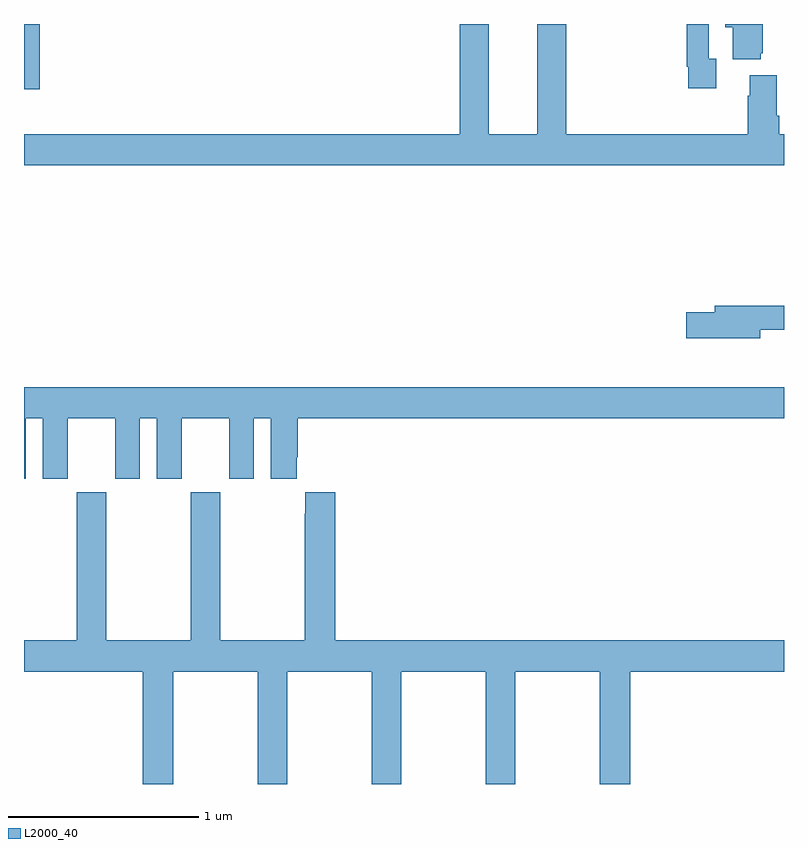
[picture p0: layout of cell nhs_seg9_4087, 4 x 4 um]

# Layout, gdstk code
import gdstk
lib = gdstk.Library(unit=1e-6, precision=1e-09)
def R(c, l, rs):  # rectangles x0, y0, x1, y1
    for r in rs: c.add(gdstk.rectangle(r[:2], r[2:], *l))
def P(c, l, *ps):  # polygons
    for p in ps: c.add(gdstk.Polygon(p, *l))
L2000_40 = (2000, 40)

nhs_seg9_4087 = lib.new_cell('nhs_seg9_4087')
R(nhs_seg9_4087, L2000_40, [(345,1194.156,345.083,1194.5)])
P(nhs_seg9_4087, L2000_40, [(348.878,1194.345),(348.889,1194.345),(348.889,1194.5),(348.692,1194.5),(348.692,1194.482),(348.731,1194.482),(348.731,1194.314),(348.878,1194.314)],
  [(348.643,1194.318),(348.603,1194.318),(348.603,1194.5),(348.487,1194.5),(348.487,1194.274),(348.495,1194.274),(348.495,1194.162),(348.643,1194.162)],
  [(349,1193.92),(348.974,1193.92),(348.974,1194.016),(348.961,1194.016),(348.961,1194.229),(348.821,1194.229),(348.821,1194.122),(348.809,1194.122),(348.809,1193.92),(347.855,1193.92),(347.855,1194.5),(347.702,1194.5),(347.702,1193.92),(347.446,1193.92),(347.446,1194.5),(347.294,1194.5),(347.294,1193.92),(345,1193.92),(345,1193.756),(349,1193.756)],
  [(348.874,1192.89),(349,1192.89),(349,1193.018),(348.635,1193.018),(348.635,1192.982),(348.486,1192.982),(348.486,1192.847),(348.874,1192.847)],
  [(345.01,1192.424),(345.098,1192.424),(345.098,1192.107),(345.229,1192.107),(345.229,1192.424),(345.479,1192.424),(345.479,1192.107),(345.61,1192.107),(345.61,1192.424),(345.698,1192.424),(345.698,1192.107),(345.829,1192.107),(345.829,1192.424),(346.079,1192.424),(346.079,1192.107),(346.21,1192.107),(346.21,1192.424),(346.298,1192.424),(346.298,1192.107),(346.435,1192.107),(346.435,1192.219),(346.442,1192.219),(346.442,1192.424),(349,1192.424),(349,1192.588),(345,1192.588),(345,1192.107),(345.01,1192.107)],
  [(345.786,1191.092),(346.231,1191.092),(346.231,1190.5),(346.386,1190.5),(346.386,1191.092),(346.831,1191.092),(346.831,1190.5),(346.986,1190.5),(346.986,1191.092),(347.431,1191.092),(347.431,1190.5),(347.586,1190.5),(347.586,1191.092),(348.031,1191.092),(348.031,1190.5),(348.191,1190.5),(348.191,1191.092),(349,1191.092),(349,1191.256),(346.637,1191.256),(346.637,1192.036),(346.481,1192.036),(346.481,1191.923),(346.477,1191.923),(346.477,1191.256),(346.032,1191.256),(346.032,1192.036),(345.877,1192.036),(345.877,1191.256),(345.432,1191.256),(345.432,1192.036),(345.277,1192.036),(345.277,1191.256),(345,1191.256),(345,1191.092),(345.626,1191.092),(345.626,1190.5),(345.786,1190.5)])

lib.write_gds('nhs_seg9_4087.gds')
